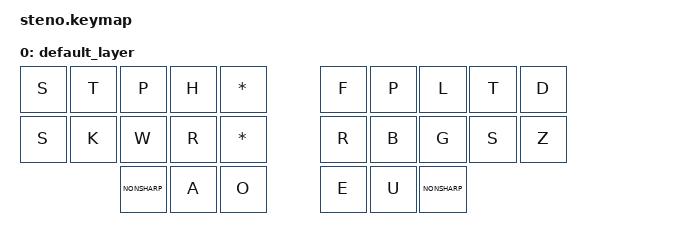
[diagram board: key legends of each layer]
#include <behaviors.dtsi>
#include <dt-bindings/zmk/keys.h>

/ {
    keymap {
        compatible = "zmk,keymap";

        default_layer {
            bindings = <
                &kp S   &kp T   &kp P   &kp H   &kp STAR      &kp F   &kp P   &kp L   &kp T   &kp D
                &kp S   &kp K   &kp W   &kp R   &kp STAR      &kp R   &kp B   &kp G   &kp S   &kp Z
                                &kp NONSHARP &kp A &kp O      &kp E   &kp U   &kp NONSHARP
            >;
        };
    };
};
